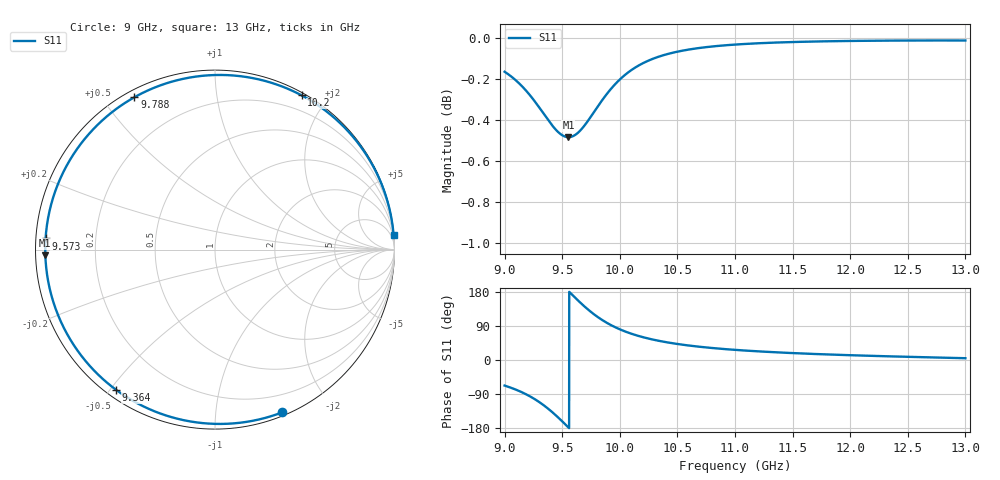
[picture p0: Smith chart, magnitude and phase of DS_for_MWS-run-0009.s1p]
! TOUCHSTONE file generated by CST DESIGN STUDIO
! Date and time: Tue Feb  4 13:52:49 2025
! Project name: C:\Work\MatlabApps\UnitCellOptimizationMatlab\CST\unitcell.cst
! Tree item: Tasks\Sweep1\SPara1\S-Parameters
! Header version: 2024
! Port assignment regex: !\s*Touchstone port\s*([0-9]+)\s*=\s*(CST MWS port|CST DES external port|CST DES block port)\s*(.+)\s* \(\"(.*)\"\)(\s*mode\s*([0-9]+))?.*
! Touchstone port assignment:
! Touchstone port 1 = CST DES external port 1 ("")
# GHz S MA R 50
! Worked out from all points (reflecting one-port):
!   4001 points, 9 GHz to 13 GHz, reference 50 ohm
!   lowest |S11| = -0.5 dB at 9.554 GHz (marker M1), VSWR 35.89, Z = 1.39 - j0.856 ohm
!   phase of S11 starts at -68 deg and turns -288 deg over the sweep
!   S11 on the Smith chart (normalised r, x): 9 GHz: 0.03, -1.50; 9.364 GHz: 0.03, -0.52; 9.573 GHz: 0.03, +0.03; 9.788 GHz: 0.03, +0.60; 10.2 GHz: 0.03, +1.71; 13 GHz: 0, +24
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9  0.9811 -67.5
9.04  0.9793 -71.6
9.106  0.9759 -79.2
9.218  0.9684 -95.6
9.295  0.9621 -109.9
9.364  0.9561 -125.1
9.43  0.9508 -142.0
9.5  0.9468 -161.9
9.554  0.9458 -178.0
9.573  0.9459 176.2
9.628  0.9477 159.8
9.688  0.9515 142.8
9.738  0.9558 129.7
9.788  0.9603 117.9
9.834  0.9644 108.1
9.883  0.9686 98.9
9.937  0.9727 89.9
10  0.9768 81.0
10.093  0.9817 70.1
10.195  0.9856 60.7
10.335  0.9893 50.8
10.5  0.9921 42.3
10.721  0.9944 34.0
11  0.9961 26.7
11.5  0.9975 18.3
12  0.9981 12.6
12.5  0.9984 8.4
13  0.9984 4.7
